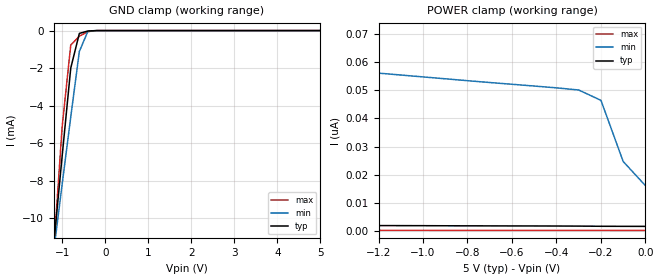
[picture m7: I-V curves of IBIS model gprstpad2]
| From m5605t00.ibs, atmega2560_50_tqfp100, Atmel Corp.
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|   Model gprstpad2
[Model]   gprstpad2
Model_type   Input
Polarity   Non-Inverting
Vinl =   0.99V
Vinh =   2.31V
C_comp   1.23pF   0.76pF   1.36pF
[Temperature Range]   27.00   0.12k   -55.00
[Voltage Range]   5.00V   4.50V   5.50V
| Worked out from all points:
|   GND clamp passes 1 mA (typ) near -0.69 V on its own axis
[GND_clamp]
| voltage   I(typ)   I(min)   I(max)
-5V       -120mA     -88.19mA   -160mA
-1.2V     -11.53mA   -11.86mA   -11.87mA
-1V       -6.7mA     -8.2mA     -5.14mA
-800mV    -2mA       -4.61mA    -770uA
-600mV    -150uA     -1.11mA    -300uA
-400mV    -22.8uA    -32.09uA   -55.94uA
-200mV    -460nA     -810nA     -580nA
5V        1.72nA     51.5nA     260pA
[POWER_clamp]
| voltage   I(typ)   I(min)   I(max)
-5V       28.82uA    13.07uA    49.39uA
-3.1V     340nA      690nA      140nA
-3V       190nA      490nA      58.42nA
-2.9V     100nA      340nA      22.97nA
-2.8V     53.65nA    240nA      8.78nA
-2.7V     28.55nA    180nA      3.38nA
-2.6V     15.52nA    140nA      1.42nA
-2.2V     3.01nA     72.8nA     380pA
-300mV    1.82nA     50.09nA    290pA
-200mV    1.76nA     46.43nA    290pA
-100mV    1.74nA     24.73nA    280pA
0V        1.72nA     16.18nA    280pA
